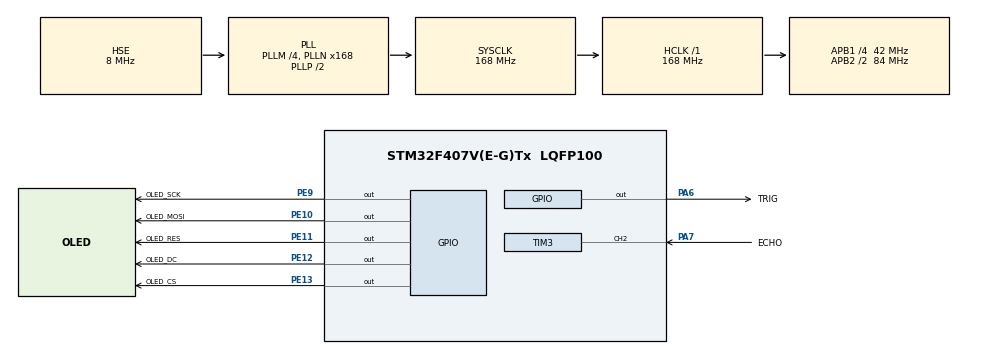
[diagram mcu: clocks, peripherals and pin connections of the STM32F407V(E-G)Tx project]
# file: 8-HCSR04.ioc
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Mcu.Family=STM32F4
Mcu.Name=STM32F407V(E-G)Tx
Mcu.Package=LQFP100
NVIC.PriorityGroup=NVIC_PRIORITYGROUP_4
NVIC.TIM3_IRQn=true\:0\:0\:false\:false\:true\:true\:true\:true
PA13.Mode=Serial_Wire
PA13.Signal=SYS_JTMS-SWDIO
PA14.Mode=Serial_Wire
PA14.Signal=SYS_JTCK-SWCLK
PA6.GPIO_Label=TRIG
PA6.GPIO_Speed=GPIO_SPEED_FREQ_MEDIUM
PA6.Signal=GPIO_Output
PA7.GPIO_Label=ECHO
PA7.GPIO_Speed=GPIO_SPEED_FREQ_MEDIUM
PA7.Signal=S_TIM3_CH2
PE10.GPIO_Label=OLED_MOSI
PE10.GPIO_Speed=GPIO_SPEED_FREQ_MEDIUM
PE10.Signal=GPIO_Output
PE11.GPIO_Label=OLED_RES
PE11.GPIO_Speed=GPIO_SPEED_FREQ_MEDIUM
PE11.Signal=GPIO_Output
PE12.GPIO_Label=OLED_DC
PE12.GPIO_Speed=GPIO_SPEED_FREQ_MEDIUM
PE12.Signal=GPIO_Output
PE13.GPIO_Label=OLED_CS
PE13.GPIO_Speed=GPIO_SPEED_FREQ_MEDIUM
PE13.Signal=GPIO_Output
PE9.GPIO_Label=OLED_SCK
PE9.GPIO_Speed=GPIO_SPEED_FREQ_MEDIUM
PE9.Signal=GPIO_Output
PH0-OSC_IN.Mode=HSE-External-Oscillator
PH0-OSC_IN.Signal=RCC_OSC_IN
PH1-OSC_OUT.Mode=HSE-External-Oscillator
PH1-OSC_OUT.Signal=RCC_OSC_OUT
ProjectManager.HeapSize=0x200
ProjectManager.StackSize=0x400
ProjectManager.TargetToolchain=MDK-ARM V5.32
RCC.48MHZClocksFreq_Value=84000000
RCC.AHBFreq_Value=168000000
RCC.APB1CLKDivider=RCC_HCLK_DIV4
RCC.APB1Freq_Value=42000000
RCC.APB1TimFreq_Value=84000000
RCC.APB2CLKDivider=RCC_HCLK_DIV2
RCC.APB2Freq_Value=84000000
RCC.APB2TimFreq_Value=168000000
RCC.CortexFreq_Value=168000000
RCC.HCLKFreq_Value=168000000
RCC.HSE_VALUE=8000000
RCC.HSI_VALUE=16000000
RCC.LSE_VALUE=32768
RCC.PLLM=4
RCC.PLLN=168
RCC.PLLSourceVirtual=RCC_PLLSOURCE_HSE
RCC.SYSCLKFreq_VALUE=168000000
RCC.SYSCLKSource=RCC_SYSCLKSOURCE_PLLCLK
RCC.VCOOutputFreq_Value=336000000
SH.S_TIM3_CH2.0=TIM3_CH2,Input_Capture2_from_TI2
TIM3.AutoReloadPreload=TIM_AUTORELOAD_PRELOAD_ENABLE
TIM3.Channel-Input_Capture2_from_TI2=TIM_CHANNEL_2
TIM3.Prescaler=83
VP_TIM3_VS_ClockSourceINT.Mode=Internal
board=custom

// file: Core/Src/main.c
/* USER CODE BEGIN Header */
/**
  ******************************************************************************
  * @file           : main.c
  * @brief          : Main program body
  ******************************************************************************
  * @attention
  *
  * Copyright (c) 2025 STMicroelectronics.
  * All rights reserved.
  *
  * This software is licensed under terms that can be found in the LICENSE file
  * in the root directory of this software component.
  * If no LICENSE file comes with this software, it is provided AS-IS.
  *
  ******************************************************************************
  */
/* USER CODE END Header */
#include "main.h"
#include "tim.h"
#include "gpio.h"

/* USER CODE BEGIN Includes */
#include "hcsr04.h"
#include "OLED.h"
/* USER CODE END Includes */

void SystemClock_Config(void);

/* USER CODE BEGIN 0 */
char oled_buf[20] = {0};
float distance = 0.0f;
/* USER CODE END 0 */

int main(void)
{

  /* MCU Configuration--------------------------------------------------------*/

  /* Reset of all peripherals, Initializes the Flash interface and the Systick. */
  HAL_Init();

  /* Configure the system clock */
  SystemClock_Config();

  /* Initialize all configured peripherals */
  MX_GPIO_Init();
  MX_TIM3_Init();
  /* USER CODE BEGIN 2 */
  oled_init();
  oled_showstring(1, 1, "HC-SR04 test:");

  HAL_TIM_Base_Start_IT(&htim3);
  HAL_TIM_IC_Start_IT(&htim3, TIM_CHANNEL_2);

  hcsr04_start();
  /* USER CODE END 2 */

  /* Infinite loop */
  while (1)
  {

    /* USER CODE BEGIN 3 */
	distance = hcsr04_getdistance(&HCSR04);

	// 超声波模块距离过近会出问题，所以小于2厘米的值直接舍弃
	if (distance < 2.0f)
    {
		distance = 2.0f;
	}

	hcsr04_start();

	sprintf(oled_buf, "distance:%d.%d", (int)distance, (int)(distance * 100) % 100);
	oled_showstring(2, 1, oled_buf);

	HAL_Delay(50);
  }
  /* USER CODE END 3 */
}

void SystemClock_Config(void)
{
  RCC_OscInitTypeDef RCC_OscInitStruct = {0};
  RCC_ClkInitTypeDef RCC_ClkInitStruct = {0};

  /** Configure the main internal regulator output voltage
  */
  __HAL_RCC_PWR_CLK_ENABLE();
  __HAL_PWR_VOLTAGESCALING_CONFIG(PWR_REGULATOR_VOLTAGE_SCALE1);

  /** Initializes the RCC Oscillators according to the specified parameters
  * in the RCC_OscInitTypeDef structure.
  */
  RCC_OscInitStruct.OscillatorType = RCC_OSCILLATORTYPE_HSE;
  RCC_OscInitStruct.HSEState = RCC_HSE_ON;
  RCC_OscInitStruct.PLL.PLLState = RCC_PLL_ON;
  RCC_OscInitStruct.PLL.PLLSource = RCC_PLLSOURCE_HSE;
  RCC_OscInitStruct.PLL.PLLM = 4;
  RCC_OscInitStruct.PLL.PLLN = 168;
  RCC_OscInitStruct.PLL.PLLP = RCC_PLLP_DIV2;
  RCC_OscInitStruct.PLL.PLLQ = 4;
  if (HAL_RCC_OscConfig(&RCC_OscInitStruct) != HAL_OK)
  {
    Error_Handler();
  }

  /** Initializes the CPU, AHB and APB buses clocks
  */
  RCC_ClkInitStruct.ClockType = RCC_CLOCKTYPE_HCLK|RCC_CLOCKTYPE_SYSCLK
                              |RCC_CLOCKTYPE_PCLK1|RCC_CLOCKTYPE_PCLK2;
  RCC_ClkInitStruct.SYSCLKSource = RCC_SYSCLKSOURCE_PLLCLK;
  RCC_ClkInitStruct.AHBCLKDivider = RCC_SYSCLK_DIV1;
  RCC_ClkInitStruct.APB1CLKDivider = RCC_HCLK_DIV4;
  RCC_ClkInitStruct.APB2CLKDivider = RCC_HCLK_DIV2;

  if (HAL_RCC_ClockConfig(&RCC_ClkInitStruct, FLASH_LATENCY_5) != HAL_OK)
  {
    Error_Handler();
  }
}

void Error_Handler(void)
{
  __disable_irq();
  while (1)
  {
  }
}
